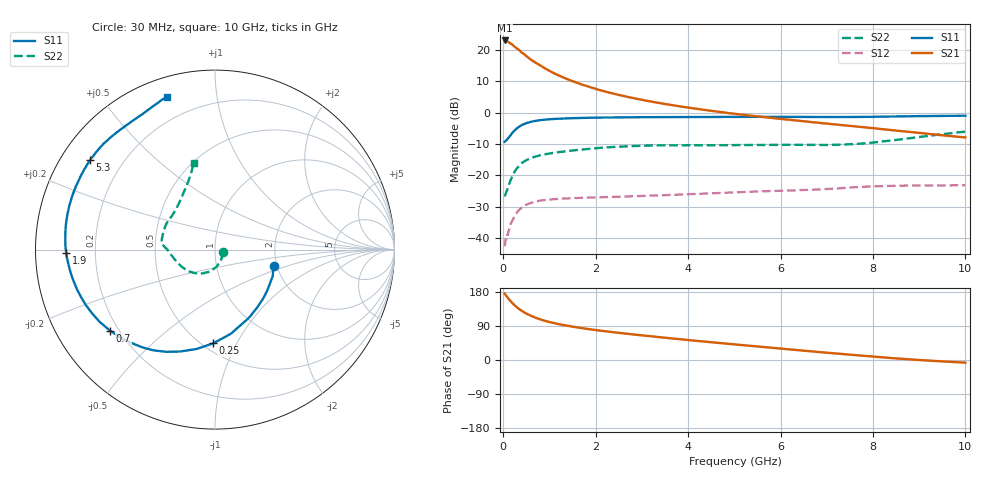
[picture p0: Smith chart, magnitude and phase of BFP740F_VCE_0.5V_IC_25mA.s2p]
! Infineon Technologies  Discrete & RF Semiconductors
! BFP740F
! VCE =  0.5 V,  IC =  25 mA
! Common Emitter S-Parameters:  Oct 2012
# GHz  S  MA  R  50
!  f  S11  S21  S12  S22
! GHz  MAG  ANG  MAG  ANG  MAG  ANG  MAG  ANG
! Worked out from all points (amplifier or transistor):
!   99 points, 30 MHz to 10 GHz, reference 50 ohm
!   highest |S21| = 23.0 dB at 30 MHz (marker M1)
!   |S21| within 3 dB of that: start of sweep to 338.2 MHz
!   unconditionally stable (mu >= 1): start of sweep to 593.8 MHz; 880.5 MHz to end of sweep
!   at 350 MHz: K = 1.20, MAG = 22.8 dB, |S12| = -31.0 dB
!   at 3.5 GHz: K = 2.02, MAG = 8.8 dB, |S12| = -26.4 dB
!   at 10 GHz: K = 3.13, MAG = -0.2 dB, |S12| = -23.2 dB
!   S11 on the Smith chart (normalised r, x): 30 MHz: 1.93, -0.40; 250 MHz: 0.56, -0.81; 700 MHz: 0.17, -0.33; 1.9 GHz: 0.09, -0.01; 5.3 GHz: 0.09, +0.32; 10 GHz: 0.09, +0.73
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0.03  0.3422 -15.4  14.17 175.3  0.0074 15.2  0.046 -18.3
0.05  0.3537 -24.6  14.08 172.2  0.0096 30.7  0.0502 -29.7
0.11  0.3925 -51.0  13.45 162.6  0.0126 44.5  0.0659 -59.6
0.14  0.4193 -61.7  13 158.1  0.015 46.7  0.0766 -69.9
0.2  0.4775 -79.4  12.11 149.9  0.0191 47.9  0.098 -87.0
0.25  0.5223 -91.1  11.21 144.1  0.0225 46.5  0.1152 -97.7
0.35  0.5997 -108.8  9.887 134.0  0.0282 41.8  0.1426 -114.6
0.4  0.631 -115.5  9.074 129.8  0.0305 39.3  0.1561 -120.5
0.5  0.6788 -126.6  7.986 122.6  0.034 35.3  0.1741 -131.3
0.6  0.7143 -135.3  6.99 116.6  0.0363 31.7  0.1888 -140.1
0.7  0.7388 -142.3  6.266 111.6  0.0381 28.6  0.1991 -146.9
0.9  0.7719 -152.8  5.101 103.5  0.0403 24.2  0.2157 -157.7
1.1  0.7918 -160.5  4.252 97.4  0.0416 21.3  0.2285 -165.1
1.7  0.8224 -175.1  2.806 84.2  0.0438 17.3  0.2567 -177.7
1.9  0.8293 -178.6  2.517 80.7  0.0443 16.8  0.2655 179.8
2.5  0.8395 173.1  1.917 71.7  0.0455 16.2  0.2859 176.0
3.4  0.8475 162.9  1.416 60.0  0.0479 16.3  0.3006 172.7
5.1  0.8554 146.2  0.937 40.1  0.0537 16.5  0.3037 161.9
5.3  0.856 144.4  0.903 37.9  0.0544 16.3  0.3042 160.1
6.7  0.8524 130.9  0.701 22.5  0.0589 15.6  0.3054 146.1
8.5  0.869 113.7  0.517 4.2  0.0681 10.8  0.3666 118.0
10  0.8929 107.5  0.402 -7.0  0.0693 6.3  0.4982 103.8
